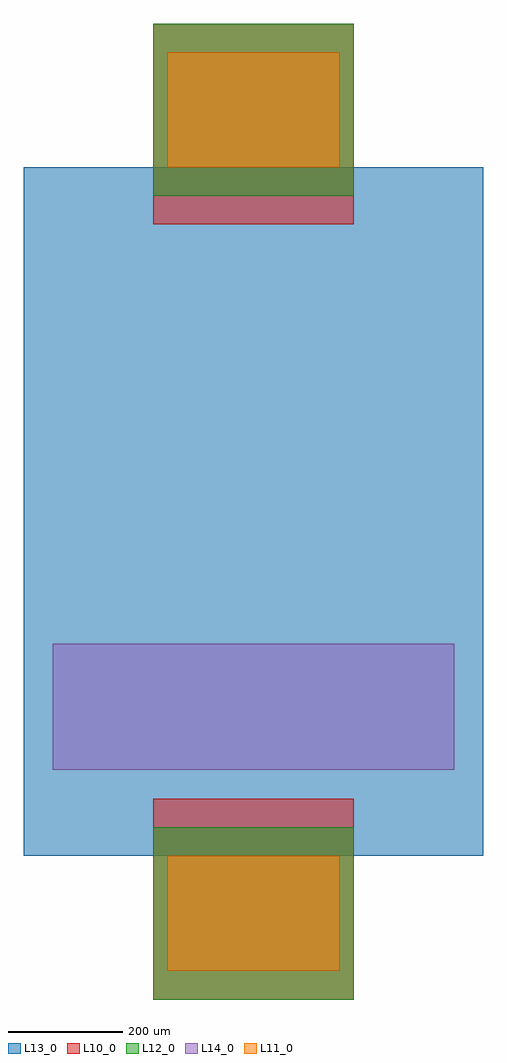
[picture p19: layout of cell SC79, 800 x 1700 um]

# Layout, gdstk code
import gdstk
lib = gdstk.Library(unit=1e-6, precision=1e-09)
def R(c, l, rs):  # rectangles x0, y0, x1, y1
    for r in rs: c.add(gdstk.rectangle(r[:2], r[2:], *l))
L10_0 = (10, 0)
L11_0 = (11, 0)
L12_0 = (12, 0)
L13_0 = (13, 0)
L14_0 = (14, 0)

sc79 = lib.new_cell('SC79')
R(sc79, L10_0, [(-175,-850,175,-500), (-175,500,175,850)])
R(sc79, L11_0, [(-150,-800,150,-600), (-150,600,150,800)])
R(sc79, L12_0, [(-175,-850,175,-550), (-175,550,175,850)])
R(sc79, L13_0, [(-400,-600,400,600)])
R(sc79, L14_0, [(-350,-450,350,-230)])

lib.write_gds('SC79.gds')
